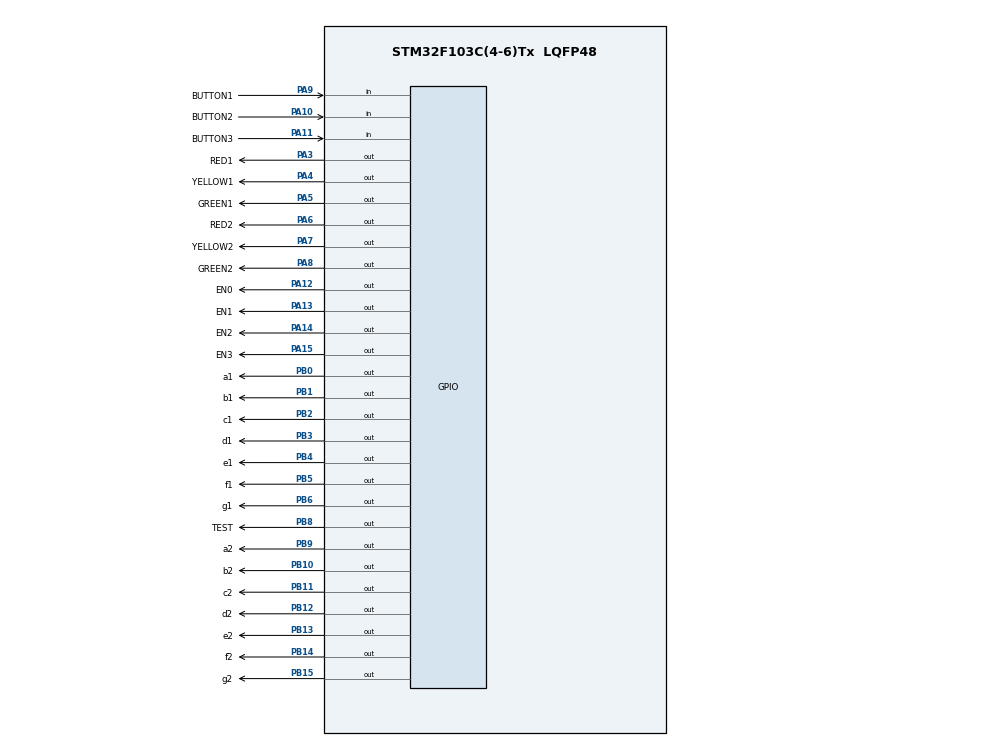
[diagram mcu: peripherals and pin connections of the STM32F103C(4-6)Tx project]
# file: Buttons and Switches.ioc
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Mcu.Family=STM32F1
Mcu.Name=STM32F103C(4-6)Tx
Mcu.Package=LQFP48
NVIC.PriorityGroup=NVIC_PRIORITYGROUP_4
NVIC.TIM2_IRQn=true\:0\:0\:false\:false\:true\:true\:true
PA10.GPIO_Label=BUTTON2
PA10.GPIO_PuPd=GPIO_PULLUP
PA10.Signal=GPIO_Input
PA11.GPIO_Label=BUTTON3
PA11.GPIO_PuPd=GPIO_PULLUP
PA11.Signal=GPIO_Input
PA12.GPIO_Label=EN0
PA12.Signal=GPIO_Output
PA13.GPIO_Label=EN1
PA13.Signal=GPIO_Output
PA14.GPIO_Label=EN2
PA14.Signal=GPIO_Output
PA15.GPIO_Label=EN3
PA15.Signal=GPIO_Output
PA3.GPIO_Label=RED1
PA3.Signal=GPIO_Output
PA4.GPIO_Label=YELLOW1
PA4.Signal=GPIO_Output
PA5.GPIO_Label=GREEN1
PA5.Signal=GPIO_Output
PA6.GPIO_Label=RED2
PA6.Signal=GPIO_Output
PA7.GPIO_Label=YELLOW2
PA7.Signal=GPIO_Output
PA8.GPIO_Label=GREEN2
PA8.Signal=GPIO_Output
PA9.GPIO_Label=BUTTON1
PA9.GPIO_PuPd=GPIO_PULLUP
PA9.Signal=GPIO_Input
PB0.GPIO_Label=a1
PB0.Signal=GPIO_Output
PB1.GPIO_Label=b1
PB1.Signal=GPIO_Output
PB10.GPIO_Label=b2
PB10.Signal=GPIO_Output
PB11.GPIO_Label=c2
PB11.Signal=GPIO_Output
PB12.GPIO_Label=d2
PB12.Signal=GPIO_Output
PB13.GPIO_Label=e2
PB13.Signal=GPIO_Output
PB14.GPIO_Label=f2
PB14.Signal=GPIO_Output
PB15.GPIO_Label=g2
PB15.Signal=GPIO_Output
PB2.GPIO_Label=c1
PB2.Signal=GPIO_Output
PB3.GPIO_Label=d1
PB3.Signal=GPIO_Output
PB4.GPIO_Label=e1
PB4.Signal=GPIO_Output
PB5.GPIO_Label=f1
PB5.Signal=GPIO_Output
PB6.GPIO_Label=g1
PB6.Signal=GPIO_Output
PB8.GPIO_Label=TEST
PB8.Signal=GPIO_Output
PB9.GPIO_Label=a2
PB9.Signal=GPIO_Output
ProjectManager.HeapSize=0x200
ProjectManager.StackSize=0x400
ProjectManager.TargetToolchain=STM32CubeIDE
RCC.AHBFreq_Value=8000000
RCC.APB1Freq_Value=8000000
RCC.APB1TimFreq_Value=8000000
RCC.APB2Freq_Value=8000000
RCC.APB2TimFreq_Value=8000000
RCC.HCLKFreq_Value=8000000
TIM2.Period=9
TIM2.Prescaler=7999
VP_SYS_VS_ND.Mode=No_Debug
VP_TIM2_VS_ClockSourceINT.Mode=Internal
board=custom

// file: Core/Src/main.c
/* USER CODE BEGIN Header */
/**
  ******************************************************************************
  * @file           : main.c
  * @brief          : Main program body
  ******************************************************************************
  * @attention
  *
  * <h2><center>&copy; Copyright (c) 2023 STMicroelectronics.
  * All rights reserved.</center></h2>
  *
  * This software component is licensed by ST under BSD 3-Clause license,
  * the "License"; You may not use this file except in compliance with the
  * License. You may obtain a copy of the License at:
  *                        opensource.org/licenses/BSD-3-Clause
  *
  ******************************************************************************
  */
/* USER CODE END Header */
#include "main.h"
#include "7_SEG_Display.h"
/* USER CODE BEGIN Includes */
#include "button.h"
#include "fsm_automatic.h"
/* USER CODE END Includes */

TIM_HandleTypeDef htim2;

void SystemClock_Config(void);
static void MX_GPIO_Init(void);
static void MX_TIM2_Init(void);

int main(void)
{

  /* MCU Configuration--------------------------------------------------------*/

  /* Reset of all peripherals, Initializes the Flash interface and the Systick. */
  HAL_Init();

  /* Configure the system clock */
  SystemClock_Config();

  /* Initialize all configured peripherals */
  MX_GPIO_Init();
  MX_TIM2_Init();
  /* USER CODE BEGIN 2 */
  HAL_TIM_Base_Start_IT(&htim2);
  /* USER CODE END 2 */

  /* Infinite loop */
  /* USER CODE BEGIN WHILE */
  set_TIMER_CYCLE();
  setTimer(0,100);//blinky led
  setTimer(1,100);// for the counter every 1 s, update the value led of 7 segment
  setTimer(2,100); // for blink the 7 segment
  setTimer(3,100);	// for the counter of the traffic led
  led_status = INIT;
  initializeArrays_for_Button();
  while (1)
  {

	  fsm_manual_run();
	  fsm_automatic_run();
    /* USER CODE END WHILE */

  }
}

void SystemClock_Config(void)
{
  RCC_OscInitTypeDef RCC_OscInitStruct = {0};
  RCC_ClkInitTypeDef RCC_ClkInitStruct = {0};

  /** Initializes the RCC Oscillators according to the specified parameters
  * in the RCC_OscInitTypeDef structure.
  */
  RCC_OscInitStruct.OscillatorType = RCC_OSCILLATORTYPE_HSI;
  RCC_OscInitStruct.HSIState = RCC_HSI_ON;
  RCC_OscInitStruct.HSICalibrationValue = RCC_HSICALIBRATION_DEFAULT;
  RCC_OscInitStruct.PLL.PLLState = RCC_PLL_NONE;
  if (HAL_RCC_OscConfig(&RCC_OscInitStruct) != HAL_OK)
  {
    Error_Handler();
  }
  /** Initializes the CPU, AHB and APB buses clocks
  */
  RCC_ClkInitStruct.ClockType = RCC_CLOCKTYPE_HCLK|RCC_CLOCKTYPE_SYSCLK
                              |RCC_CLOCKTYPE_PCLK1|RCC_CLOCKTYPE_PCLK2;
  RCC_ClkInitStruct.SYSCLKSource = RCC_SYSCLKSOURCE_HSI;
  RCC_ClkInitStruct.AHBCLKDivider = RCC_SYSCLK_DIV1;
  RCC_ClkInitStruct.APB1CLKDivider = RCC_HCLK_DIV1;
  RCC_ClkInitStruct.APB2CLKDivider = RCC_HCLK_DIV1;

  if (HAL_RCC_ClockConfig(&RCC_ClkInitStruct, FLASH_LATENCY_0) != HAL_OK)
  {
    Error_Handler();
  }
}

static void MX_TIM2_Init(void)
{

  TIM_ClockConfigTypeDef sClockSourceConfig = {0};
  TIM_MasterConfigTypeDef sMasterConfig = {0};

  htim2.Instance = TIM2;
  htim2.Init.Prescaler = 7999;
  htim2.Init.CounterMode = TIM_COUNTERMODE_UP;
  htim2.Init.Period = 9;
  htim2.Init.ClockDivision = TIM_CLOCKDIVISION_DIV1;
  htim2.Init.AutoReloadPreload = TIM_AUTORELOAD_PRELOAD_DISABLE;
  if (HAL_TIM_Base_Init(&htim2) != HAL_OK)
  {
    Error_Handler();
  }
  sClockSourceConfig.ClockSource = TIM_CLOCKSOURCE_INTERNAL;
  if (HAL_TIM_ConfigClockSource(&htim2, &sClockSourceConfig) != HAL_OK)
  {
    Error_Handler();
  }
  sMasterConfig.MasterOutputTrigger = TIM_TRGO_RESET;
  sMasterConfig.MasterSlaveMode = TIM_MASTERSLAVEMODE_DISABLE;
  if (HAL_TIMEx_MasterConfigSynchronization(&htim2, &sMasterConfig) != HAL_OK)
  {
    Error_Handler();
  }

}

static void MX_GPIO_Init(void)
{
  GPIO_InitTypeDef GPIO_InitStruct = {0};

  /* GPIO Ports Clock Enable */
  __HAL_RCC_GPIOA_CLK_ENABLE();
  __HAL_RCC_GPIOB_CLK_ENABLE();

  /*Configure GPIO pin Output Level */
  HAL_GPIO_WritePin(GPIOA, RED1_Pin|YELLOW1_Pin|GREEN1_Pin|RED2_Pin
                          |YELLOW2_Pin|GREEN2_Pin|EN0_Pin|EN1_Pin
                          |EN2_Pin|EN3_Pin, GPIO_PIN_RESET);

  /*Configure GPIO pin Output Level */
  HAL_GPIO_WritePin(GPIOB, a1_Pin|b1_Pin|c1_Pin|b2_Pin
                          |c2_Pin|d2_Pin|e2_Pin|f2_Pin
                          |g2_Pin|d1_Pin|e1_Pin|f1_Pin
                          |g1_Pin|TEST_Pin|a2_Pin, GPIO_PIN_RESET);

  /*Configure GPIO pins : RED1_Pin YELLOW1_Pin GREEN1_Pin RED2_Pin
                           YELLOW2_Pin GREEN2_Pin EN0_Pin EN1_Pin
                           EN2_Pin EN3_Pin */
  GPIO_InitStruct.Pin = RED1_Pin|YELLOW1_Pin|GREEN1_Pin|RED2_Pin
                          |YELLOW2_Pin|GREEN2_Pin|EN0_Pin|EN1_Pin
                          |EN2_Pin|EN3_Pin;
  GPIO_InitStruct.Mode = GPIO_MODE_OUTPUT_PP;
  GPIO_InitStruct.Pull = GPIO_NOPULL;
  GPIO_InitStruct.Speed = GPIO_SPEED_FREQ_LOW;
  HAL_GPIO_Init(GPIOA, &GPIO_InitStruct);

  /*Configure GPIO pins : a1_Pin b1_Pin c1_Pin b2_Pin
                           c2_Pin d2_Pin e2_Pin f2_Pin
                           g2_Pin d1_Pin e1_Pin f1_Pin
                           g1_Pin TEST_Pin a2_Pin */
  GPIO_InitStruct.Pin = a1_Pin|b1_Pin|c1_Pin|b2_Pin
                          |c2_Pin|d2_Pin|e2_Pin|f2_Pin
                          |g2_Pin|d1_Pin|e1_Pin|f1_Pin
                          |g1_Pin|TEST_Pin|a2_Pin;
  GPIO_InitStruct.Mode = GPIO_MODE_OUTPUT_PP;
  GPIO_InitStruct.Pull = GPIO_NOPULL;
  GPIO_InitStruct.Speed = GPIO_SPEED_FREQ_LOW;
  HAL_GPIO_Init(GPIOB, &GPIO_InitStruct);

  /*Configure GPIO pins : BUTTON1_Pin BUTTON2_Pin BUTTON3_Pin */
  GPIO_InitStruct.Pin = BUTTON1_Pin|BUTTON2_Pin|BUTTON3_Pin;
  GPIO_InitStruct.Mode = GPIO_MODE_INPUT;
  GPIO_InitStruct.Pull = GPIO_PULLUP;
  HAL_GPIO_Init(GPIOA, &GPIO_InitStruct);

}

/* USER CODE BEGIN 4 */

void HAL_TIM_PeriodElapsedCallback(TIM_HandleTypeDef *htim){
	getKeyInput();
	timer_run();
}
/* USER CODE END 4 */

void Error_Handler(void)
{
  __disable_irq();
  while (1)
  {
  }
}

/************************ (C) COPYRIGHT STMicroelectronics *****END OF FILE****/
